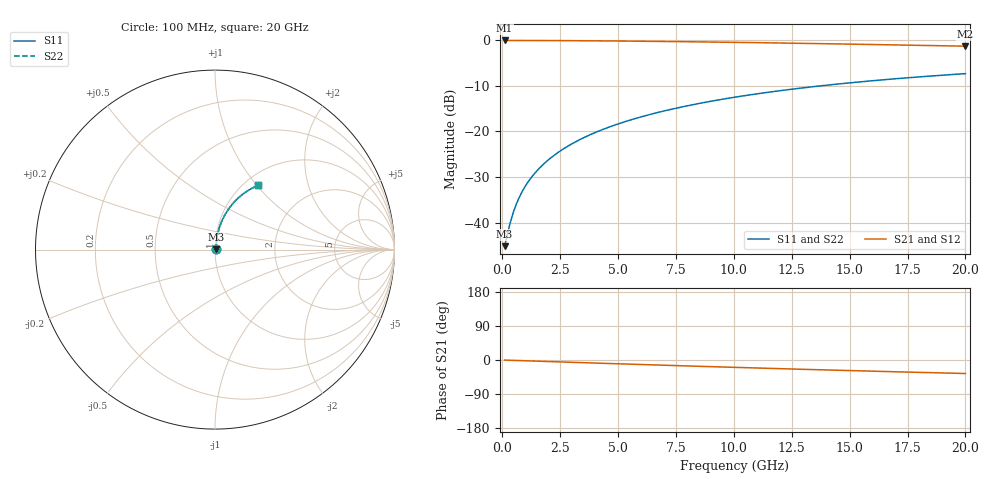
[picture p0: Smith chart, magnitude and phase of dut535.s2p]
! Touchstone file exported from HFSS 2024.1.0
!  File:  C:/UserFiles/LocalFiles/RDL_TSV_Batchsim/temp_RDL_bottom_535_1779688665.aedt
!  Generated:  02:00:22 PM May 25, 2026
!  Design:  RDL_bottom
!  Project:  temp_RDL_bottom_535_1779688665
!  Setup:  Setup1
!  Solution:  Sweep
! Variables:
!  dtsv = 10.80580581um
!  hbump = 3um
!  htsv = 86.73um
!  ldown = 426.96um
!  lrdl = 100um
!  p = 40
!  p1 = 47.09um
!  rhole = 1um
!  t = 450um
!  tdown = 2.81um
!  trdl = 3.915915916um
!  wdown = 11.18um
!  wrdl = 20um
# GHz S MA R 50.000000
! Terminal data exported
! Port[1] = RDL1_T1
! Port[2] = RDL1_T2
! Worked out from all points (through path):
!   200 points, 100 MHz to 20 GHz, reference 50 ohm
!   highest |S21| = -0.04 dB at 100 MHz (marker M1); lowest = -1.3 dB at 20 GHz (marker M2)
!   group delay of S21, straight-line fit = 4.96 ps
!   lowest |S11| = -45.2 dB at 100 MHz (marker M3), VSWR 1.01, Z = 50.5 + j0.253 ohm
!   |S11| at or under -10 dB: start of sweep to 13.75 GHz
!   |S22| runs from -45.2 to -7.3 dB; largest |S21 - S12| = 3.3e-15
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0.1  0.005518 27.0  0.9951 -0.2  0.9951 -0.2  0.005518 27.0
! Gamma 0 0 0 0
! Port Impedance 50 0 50 0
0.3  0.009042 56.0  0.995 -0.6  0.995 -0.6  0.009042 56.0
0.4  0.01123 62.6  0.9949 -0.8  0.9949 -0.8  0.01123 62.6
0.5  0.0135 66.9  0.9947 -1.0  0.9947 -1.0  0.0135 66.9
0.6  0.01582 69.9  0.9946 -1.2  0.9946 -1.2  0.01582 69.9
0.7  0.01816 72.0  0.9945 -1.4  0.9945 -1.4  0.01816 72.0
0.9  0.02287 75.0  0.9942 -1.9  0.9942 -1.9  0.02287 75.0
1.2  0.02998 77.5  0.9937 -2.5  0.9937 -2.5  0.02998 77.5
1.4  0.03474 78.5  0.9934 -2.9  0.9934 -2.9  0.03474 78.5
1.7  0.04189 79.5  0.9929 -3.5  0.9929 -3.5  0.04189 79.5
2.2  0.05384 80.3  0.9918 -4.5  0.9918 -4.5  0.05384 80.3
2.8  0.06822 80.5  0.9902 -5.7  0.9902 -5.7  0.06822 80.5
3.5  0.08501 80.3  0.9879 -7.1  0.9879 -7.1  0.08501 80.3
4.2  0.1018 79.7  0.9852 -8.5  0.9852 -8.5  0.1018 79.7
5  0.1209 78.9  0.9815 -10.0  0.9815 -10.0  0.1209 78.9
5.9  0.1422 77.8  0.9769 -11.8  0.9769 -11.8  0.1422 77.8
6.8  0.1634 76.5  0.9717 -13.5  0.9717 -13.5  0.1634 76.5
8.3  0.1982 74.3  0.9619 -16.3  0.9619 -16.3  0.1982 74.3
10.1  0.2388 71.4  0.9487 -19.6  0.9487 -19.6  0.2389 71.5
13.4  0.3092 66.2  0.9215 -25.3  0.9215 -25.3  0.3092 66.2
16.7  0.3732 61.1  0.8919 -30.7  0.8919 -30.7  0.3732 61.1
20  0.4304 56.2  0.8612 -35.7  0.8612 -35.7  0.4304 56.2
